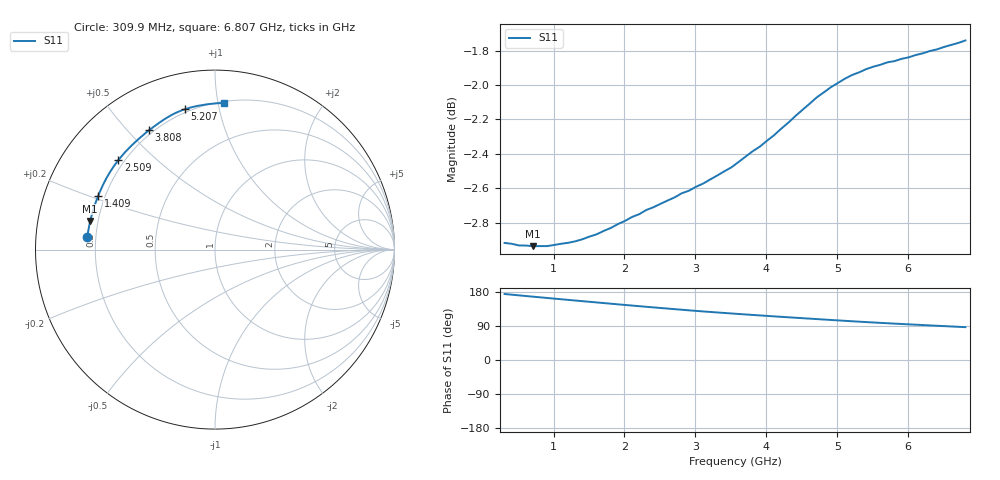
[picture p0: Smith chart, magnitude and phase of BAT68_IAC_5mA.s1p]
! Infineon Technologies  Discrete & RF Semiconductors
! BAT68
! IAC = 5 mA
! One-Port S-Parameters
# Hz  S  MA  R  50
!f  S11
!Hz  Mag  Ang
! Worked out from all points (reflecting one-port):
!   66 points, 309.9 MHz to 6.807 GHz, reference 50 ohm
!   lowest |S11| = -2.9 dB at 709.6 MHz (marker M1), VSWR 5.97, Z = 8.48 + j5.48 ohm
!   phase of S11 starts at 174 deg and turns -87 deg over the sweep
!   S11 on the Smith chart (normalised r, x): 309.9 MHz: 0.17, +0.05; 1.409 GHz: 0.17, +0.21; 2.509 GHz: 0.18, +0.38; 3.808 GHz: 0.18, +0.58; 5.207 GHz: 0.18, +0.79; 6.807 GHz: 0.21, +1.04
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3.0985e8  0.7146 174.2
4.098e8  0.7142 172.4
7.0965e8  0.7131 167.1
1.0095e9  0.7136 161.9
1.2094e9  0.7147 158.6
1.4093e9  0.7164 155.2
1.70915e9  0.7204 150.2
1.90905e9  0.7237 146.9
2.009e9  0.7252 145.2
2.2089e9  0.7285 142.0
2.30885e9  0.7306 140.4
2.50875e9  0.7336 137.2
2.8086e9  0.7388 132.6
3.0085e9  0.742 129.6
3.2084e9  0.7457 126.8
3.6082e9  0.7544 121.4
3.8081e9  0.7599 118.9
4.2079e9  0.7714 113.9
4.4078e9  0.778 111.6
4.6077e9  0.7844 109.2
4.8076e9  0.7904 106.8
5.0075e9  0.7954 104.5
5.2074e9  0.7997 102.3
5.4073e9  0.8029 100.0
5.6072e9  0.8052 98.0
6.007e9  0.8092 94.1
6.30685e9  0.8127 91.3
6.8066e9  0.8185 86.7
